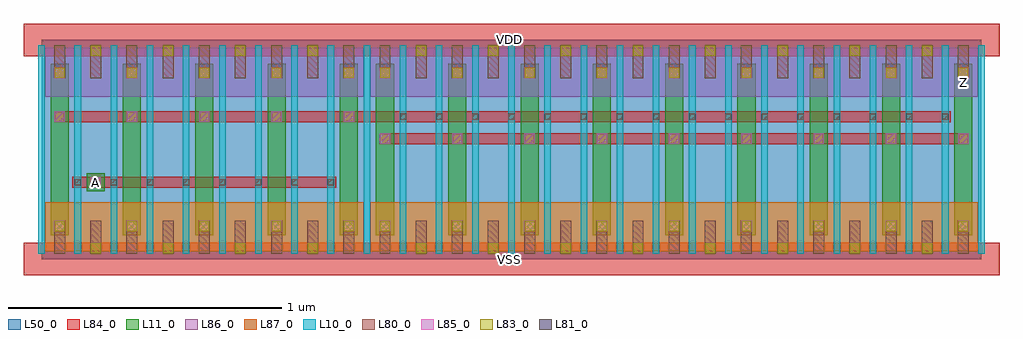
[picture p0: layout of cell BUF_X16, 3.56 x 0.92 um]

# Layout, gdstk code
import gdstk
lib = gdstk.Library(unit=1e-6, precision=1e-09)
def R(c, l, rs):  # rectangles x0, y0, x1, y1
    for r in rs: c.add(gdstk.rectangle(r[:2], r[2:], *l))
def A(c, l, x, y, w, h, nx, ny, dx, dy):  # array of equal rectangles
    R(c, l, [(x+i*dx, y+j*dy, x+i*dx+w, y+j*dy+h) for i in range(nx) for j in range(ny)])
L10_0 = (10, 0)
L11_0 = (11, 0)
L50_0 = (50, 0)
L80_0 = (80, 0)
L81_0 = (81, 0)
L83_0 = (83, 0)
L84_0 = (84, 0)
L85_0 = (85, 0)
L86_0 = (86, 0)
L87_0 = (87, 0)

buf_x16 = lib.new_cell('BUF_X16')
A(buf_x16, L10_0, -0.012, 0.02, 0.024, 0.76, 5, 1, 0.132, 0)
A(buf_x16, L10_0, 0.648, 0.02, 0.024, 0.76, 5, 1, 0.132, 0)
A(buf_x16, L10_0, 1.176, 0.02, 0.024, 0.76, 5, 1, 0.132, 0)
A(buf_x16, L10_0, 1.836, 0.02, 0.024, 0.76, 4, 1, 0.132, 0)
A(buf_x16, L10_0, 2.364, 0.02, 0.024, 0.76, 4, 1, 0.132, 0)
A(buf_x16, L10_0, 2.892, 0.02, 0.024, 0.76, 5, 1, 0.132, 0)
R(buf_x16, L10_0, [(0.516,0.02,0.54,0.78), (0.648,0.02,0.672,0.78), (1.704,0.02,1.728,0.78), (1.836,0.02,1.86,0.78), (2.232,0.02,2.256,0.78), (2.364,0.02,2.388,0.78), (2.76,0.02,2.784,0.78), (2.892,0.02,2.916,0.78)])
A(buf_x16, L11_0, 0.033, 0.087, 0.066, 0.626, 3, 1, 0.264, 0)
A(buf_x16, L11_0, 0.561, 0.087, 0.066, 0.626, 3, 1, 0.264, 0)
A(buf_x16, L11_0, 1.221, 0.087, 0.066, 0.626, 3, 1, 0.264, 0)
A(buf_x16, L11_0, 1.749, 0.087, 0.066, 0.626, 3, 1, 0.264, 0)
A(buf_x16, L11_0, 2.277, 0.087, 0.066, 0.626, 3, 1, 0.264, 0)
A(buf_x16, L11_0, 2.805, 0.087, 0.066, 0.626, 3, 1, 0.264, 0)
R(buf_x16, L11_0, [(0.165,0.247,0.231,0.313)])
R(buf_x16, L50_0, [(0,0,3.432,0.8)])
A(buf_x16, L80_0, 0.046, 0.02, 0.04, 0.12, 5, 2, 0.132, 0.64)
A(buf_x16, L80_0, 0.574, 0.02, 0.04, 0.12, 10, 2, 0.132, 0.64)
A(buf_x16, L80_0, 1.762, 0.02, 0.04, 0.12, 5, 2, 0.132, 0.64)
A(buf_x16, L80_0, 2.29, 0.02, 0.04, 0.12, 5, 2, 0.132, 0.64)
A(buf_x16, L80_0, 2.818, 0.02, 0.04, 0.12, 5, 2, 0.132, 0.64)
A(buf_x16, L81_0, 0.121, 0.269, 0.022, 0.022, 8, 1, 0.132, 0)
A(buf_x16, L81_0, 1.309, 0.509, 0.022, 0.022, 16, 1, 0.132, 0)
A(buf_x16, L83_0, 0.18, 0.022, 0.036, 0.036, 4, 2, 0.264, 0.72)
A(buf_x16, L83_0, 1.368, 0.022, 0.036, 0.036, 8, 2, 0.264, 0.72)
A(buf_x16, L83_0, 0.048, 0.102, 0.036, 0.036, 3, 2, 0.264, 0.56)
A(buf_x16, L83_0, 0.576, 0.102, 0.036, 0.036, 3, 2, 0.264, 0.56)
A(buf_x16, L83_0, 1.236, 0.102, 0.036, 0.036, 3, 2, 0.264, 0.56)
A(buf_x16, L83_0, 1.764, 0.102, 0.036, 0.036, 3, 2, 0.264, 0.56)
A(buf_x16, L83_0, 2.292, 0.102, 0.036, 0.036, 3, 2, 0.264, 0.56)
A(buf_x16, L83_0, 2.82, 0.102, 0.036, 0.036, 3, 2, 0.264, 0.56)
A(buf_x16, L84_0, 1.122, -0.06, 0.792, 0.12, 4, 2, 0.528, 0.8)
A(buf_x16, L84_0, 0.046, 0.1, 0.04, 0.04, 3, 2, 0.264, 0.56)
A(buf_x16, L84_0, 0.574, 0.1, 0.04, 0.04, 3, 2, 0.264, 0.56)
A(buf_x16, L84_0, 1.234, 0.1, 0.04, 0.04, 3, 2, 0.264, 0.56)
A(buf_x16, L84_0, 1.762, 0.1, 0.04, 0.04, 3, 2, 0.264, 0.56)
A(buf_x16, L84_0, 2.29, 0.1, 0.04, 0.04, 3, 2, 0.264, 0.56)
A(buf_x16, L84_0, 2.818, 0.1, 0.04, 0.04, 3, 2, 0.264, 0.56)
A(buf_x16, L84_0, 1.234, 0.42, 0.568, 0.04, 4, 1, 0.528, 0)
R(buf_x16, L84_0, [(-0.066,-0.06,0.726,0.06), (0.462,-0.06,1.254,0.06), (0.112,0.26,0.482,0.3), (0.411,0.26,1.076,0.3), (0.046,0.5,0.614,0.54), (0.574,0.5,1.308,0.54), (1.3,0.5,1.67,0.54), (1.599,0.5,2.264,0.54), (2.244,0.5,2.726,0.54), (2.655,0.5,3.32,0.54), (-0.066,0.74,0.726,0.86), (0.462,0.74,1.254,0.86)])
A(buf_x16, L85_0, 0.047, 0.101, 0.038, 0.038, 3, 2, 0.264, 0.4)
A(buf_x16, L85_0, 0.575, 0.101, 0.038, 0.038, 3, 2, 0.264, 0.4)
A(buf_x16, L85_0, 1.235, 0.101, 0.038, 0.038, 3, 2, 0.264, 0.32)
A(buf_x16, L85_0, 1.763, 0.101, 0.038, 0.038, 3, 2, 0.264, 0.32)
A(buf_x16, L85_0, 2.291, 0.101, 0.038, 0.038, 3, 2, 0.264, 0.32)
A(buf_x16, L85_0, 2.819, 0.101, 0.038, 0.038, 3, 2, 0.264, 0.32)
A(buf_x16, L85_0, 0.047, 0.661, 0.038, 0.038, 3, 1, 0.264, 0)
A(buf_x16, L85_0, 0.575, 0.661, 0.038, 0.038, 3, 1, 0.264, 0)
A(buf_x16, L85_0, 1.235, 0.661, 0.038, 0.038, 3, 1, 0.264, 0)
A(buf_x16, L85_0, 1.763, 0.661, 0.038, 0.038, 3, 1, 0.264, 0)
A(buf_x16, L85_0, 2.291, 0.661, 0.038, 0.038, 3, 1, 0.264, 0)
A(buf_x16, L85_0, 2.819, 0.661, 0.038, 0.038, 3, 1, 0.264, 0)
R(buf_x16, L85_0, [(0.179,0.261,0.217,0.299)])
A(buf_x16, L86_0, 1.2, 0.592, 0.636, 0.18, 4, 1, 0.528, 0)
R(buf_x16, L86_0, [(0.012,0.592,0.648,0.772), (0.54,0.592,1.176,0.772)])
A(buf_x16, L87_0, 1.2, 0.028, 0.636, 0.18, 4, 1, 0.528, 0)
R(buf_x16, L87_0, [(0.012,0.028,0.648,0.208), (0.54,0.028,1.176,0.208)])
buf_x16.add(gdstk.Label('VDD', (1.71,0.8), layer=88, texttype=0))
buf_x16.add(gdstk.Label('VSS', (1.71,0), layer=88, texttype=0))
buf_x16.add(gdstk.Label('Z', (3.366,0.645), layer=31, texttype=0))
buf_x16.add(gdstk.Label('A', (0.198,0.28), layer=31, texttype=0))

lib.write_gds('BUF_X16.gds')
